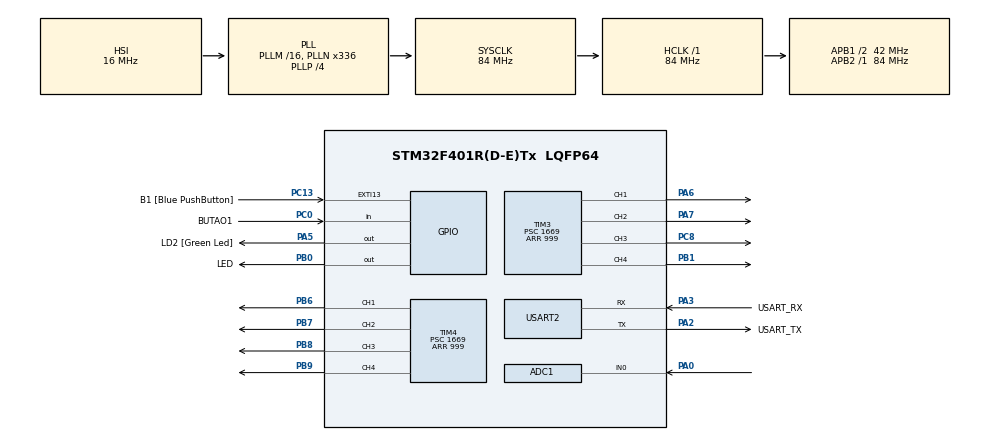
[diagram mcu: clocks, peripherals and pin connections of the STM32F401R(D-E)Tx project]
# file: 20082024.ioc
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ADC1.Channel-1\#ChannelRegularConversion=ADC_CHANNEL_0
ADC1.NbrOfConversionFlag=1
ADC1.Rank-1\#ChannelRegularConversion=1
ADC1.SamplingTime-1\#ChannelRegularConversion=ADC_SAMPLETIME_3CYCLES
ADC1.master=1
Dma.Request0=USART2_TX
Dma.USART2_TX.0.Direction=DMA_MEMORY_TO_PERIPH
Dma.USART2_TX.0.FIFOMode=DMA_FIFOMODE_DISABLE
Dma.USART2_TX.0.Instance=DMA1_Stream6
Dma.USART2_TX.0.MemDataAlignment=DMA_MDATAALIGN_BYTE
Dma.USART2_TX.0.MemInc=DMA_MINC_ENABLE
Dma.USART2_TX.0.Mode=DMA_NORMAL
Dma.USART2_TX.0.PeriphDataAlignment=DMA_PDATAALIGN_BYTE
Dma.USART2_TX.0.PeriphInc=DMA_PINC_DISABLE
Dma.USART2_TX.0.Priority=DMA_PRIORITY_LOW
Mcu.Family=STM32F4
Mcu.Name=STM32F401R(D-E)Tx
Mcu.Package=LQFP64
NVIC.ADC_IRQn=true\:0\:0\:false\:false\:true\:true\:true\:true
NVIC.DMA1_Stream6_IRQn=true\:0\:0\:false\:false\:true\:false\:true\:true
NVIC.PriorityGroup=NVIC_PRIORITYGROUP_0
NVIC.TIM1_TRG_COM_TIM11_IRQn=true\:0\:0\:false\:false\:true\:true\:true\:true
NVIC.TIM1_UP_TIM10_IRQn=true\:0\:0\:false\:false\:true\:true\:true\:true
NVIC.USART2_IRQn=true\:0\:0\:false\:false\:true\:true\:true\:true
PA0-WKUP.Signal=ADCx_IN0
PA13.GPIO_Label=TMS
PA13.Mode=Serial_Wire
PA13.Signal=SYS_JTMS-SWDIO
PA14.GPIO_Label=TCK
PA14.Mode=Serial_Wire
PA14.Signal=SYS_JTCK-SWCLK
PA2.GPIO_Label=USART_TX
PA2.GPIO_Mode=GPIO_MODE_AF_PP
PA2.GPIO_PuPd=GPIO_NOPULL
PA2.GPIO_Speed=GPIO_SPEED_FREQ_LOW
PA2.Mode=Asynchronous
PA2.Signal=USART2_TX
PA3.GPIO_Label=USART_RX
PA3.GPIO_Mode=GPIO_MODE_AF_PP
PA3.GPIO_PuPd=GPIO_NOPULL
PA3.GPIO_Speed=GPIO_SPEED_FREQ_LOW
PA3.Mode=Asynchronous
PA3.Signal=USART2_RX
PA5.GPIO_Label=LD2 [Green Led]
PA5.GPIO_Mode=GPIO_MODE_OUTPUT_PP
PA5.GPIO_PuPd=GPIO_NOPULL
PA5.GPIO_Speed=GPIO_SPEED_FREQ_LOW
PA5.Signal=GPIO_Output
PA6.Signal=S_TIM3_CH1
PA7.Signal=S_TIM3_CH2
PB0.GPIO_Label=LED
PB0.Signal=GPIO_Output
PB1.Signal=S_TIM3_CH4
PB3.GPIO_Label=SWO
PB3.Signal=SYS_JTDO-SWO
PB6.Signal=S_TIM4_CH1
PB7.Signal=S_TIM4_CH2
PB8.Signal=S_TIM4_CH3
PB9.Signal=S_TIM4_CH4
PC0.GPIO_Label=BUTAO1
PC0.Signal=GPIO_Input
PC13-ANTI_TAMP.GPIO_Label=B1 [Blue PushButton]
PC13-ANTI_TAMP.GPIO_ModeDefaultEXTI=GPIO_MODE_IT_FALLING
PC13-ANTI_TAMP.GPIO_PuPd=GPIO_NOPULL
PC13-ANTI_TAMP.Signal=GPXTI13
PC14-OSC32_IN.Mode=LSE-External-Oscillator
PC14-OSC32_IN.Signal=RCC_OSC32_IN
PC15-OSC32_OUT.Mode=LSE-External-Oscillator
PC15-OSC32_OUT.Signal=RCC_OSC32_OUT
PC8.Signal=S_TIM3_CH3
PH0\ -\ OSC_IN.Mode=HSE-External-Clock-Source
PH0\ -\ OSC_IN.Signal=RCC_OSC_IN
PH1\ -\ OSC_OUT.Mode=HSE-External-Clock-Source
PH1\ -\ OSC_OUT.Signal=RCC_OSC_OUT
ProjectManager.HeapSize=0x200
ProjectManager.StackSize=0x400
ProjectManager.TargetToolchain=STM32CubeIDE
RCC.48MHZClocksFreq_Value=48000000
RCC.AHBFreq_Value=84000000
RCC.APB1CLKDivider=RCC_HCLK_DIV2
RCC.APB1Freq_Value=42000000
RCC.APB1TimFreq_Value=84000000
RCC.APB2Freq_Value=84000000
RCC.APB2TimFreq_Value=84000000
RCC.CortexFreq_Value=84000000
RCC.HCLKFreq_Value=84000000
RCC.HSE_VALUE=8000000
RCC.HSI_VALUE=16000000
RCC.PLLN=336
RCC.PLLP=RCC_PLLP_DIV4
RCC.PLLQ=7
RCC.SYSCLKFreq_VALUE=84000000
RCC.SYSCLKSource=RCC_SYSCLKSOURCE_PLLCLK
RCC.VCOOutputFreq_Value=336000000
SH.ADCx_IN0.0=ADC1_IN0,IN0
SH.S_TIM3_CH1.0=TIM3_CH1,PWM Generation1 CH1
SH.S_TIM3_CH2.0=TIM3_CH2,PWM Generation2 CH2
SH.S_TIM3_CH3.0=TIM3_CH3,PWM Generation3 CH3
SH.S_TIM3_CH4.0=TIM3_CH4,PWM Generation4 CH4
SH.S_TIM4_CH1.0=TIM4_CH1,PWM Generation1 CH1
SH.S_TIM4_CH2.0=TIM4_CH2,PWM Generation2 CH2
SH.S_TIM4_CH3.0=TIM4_CH3,PWM Generation3 CH3
SH.S_TIM4_CH4.0=TIM4_CH4,PWM Generation4 CH4
TIM10.Period=8399
TIM10.Prescaler=5999
TIM11.Period=5
TIM11.Prescaler=16000-1
TIM3.Channel-PWM\ Generation1\ CH1=TIM_CHANNEL_1
TIM3.Channel-PWM\ Generation2\ CH2=TIM_CHANNEL_2
TIM3.Channel-PWM\ Generation3\ CH3=TIM_CHANNEL_3
TIM3.Channel-PWM\ Generation4\ CH4=TIM_CHANNEL_4
TIM3.Period=999
TIM3.Prescaler=1669
TIM4.Channel-PWM\ Generation1\ CH1=TIM_CHANNEL_1
TIM4.Channel-PWM\ Generation2\ CH2=TIM_CHANNEL_2
TIM4.Channel-PWM\ Generation3\ CH3=TIM_CHANNEL_3
TIM4.Channel-PWM\ Generation4\ CH4=TIM_CHANNEL_4
TIM4.Period=999
TIM4.Prescaler=1669
USART2.VirtualMode=VM_ASYNC
USART2.WordLength=WORDLENGTH_8B
VP_TIM10_VS_ClockSourceINT.Mode=Enable_Timer
VP_TIM11_VS_ClockSourceINT.Mode=Enable_Timer
board=NUCLEO-F401RE

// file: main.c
/* USER CODE BEGIN Header */
/**
  ******************************************************************************
  * @file           : main.c
  * @brief          : Main program body
  ******************************************************************************
  * @attention
  *
  * Copyright (c) 2024 STMicroelectronics.
  * All rights reserved.
  *
  * This software is licensed under terms that can be found in the LICENSE file
  * in the root directory of this software component.
  * If no LICENSE file comes with this software, it is provided AS-IS.
  *
  ******************************************************************************
  */
/* USER CODE END Header */
#include "main.h"

/* USER CODE BEGIN PD */
#define ESCALA (3.3/2750)
/* USER CODE END PD */

ADC_HandleTypeDef hadc1;

TIM_HandleTypeDef htim3;
TIM_HandleTypeDef htim4;
TIM_HandleTypeDef htim10;
TIM_HandleTypeDef htim11;

UART_HandleTypeDef huart2;
DMA_HandleTypeDef hdma_usart2_tx;

/* USER CODE BEGIN PV */
int pwm = 0;
uint16_t tesao = 0;
char msg[90];

uint16_t conta = 0;

uint16_t i = 0;

const uint16_t PWM_Canal[4] = {

		TIM_CHANNEL_1,
		TIM_CHANNEL_2,
		TIM_CHANNEL_3,
		TIM_CHANNEL_4

};

/* USER CODE END PV */

void SystemClock_Config(void);
static void MX_GPIO_Init(void);
static void MX_DMA_Init(void);
static void MX_USART2_UART_Init(void);
static void MX_ADC1_Init(void);
static void MX_TIM10_Init(void);
static void MX_TIM4_Init(void);
static void MX_TIM11_Init(void);
static void MX_TIM3_Init(void);

int main(void)
{

  /* MCU Configuration--------------------------------------------------------*/

  /* Reset of all peripherals, Initializes the Flash interface and the Systick. */
  HAL_Init();

  /* Configure the system clock */
  SystemClock_Config();

  /* Initialize all configured peripherals */
  MX_GPIO_Init();
  MX_DMA_Init();
  MX_USART2_UART_Init();
  MX_ADC1_Init();
  MX_TIM10_Init();
  MX_TIM4_Init();
  MX_TIM11_Init();
  MX_TIM3_Init();
  /* USER CODE BEGIN 2 */

  HAL_TIM_PWM_Start(&htim4, TIM_CHANNEL_1);
  HAL_TIM_PWM_Start(&htim3, TIM_CHANNEL_1);
  HAL_TIM_Base_Start_IT(&htim11);
  HAL_TIM_Base_Start_IT(&htim10);

  /* USER CODE END 2 */

  /* Infinite loop */
  while (1)
  {

    /* USER CODE BEGIN 3 */

	  HAL_ADC_PollForConversion(&hadc1, 1000);
	  tesao = HAL_ADC_GetValue(&hadc1);

	  HAL_UART_Transmit(&huart2, (uint8_t *)msg, strlen(msg), HAL_MAX_DELAY);
	  HAL_Delay(500);

	  sprintf(msg, "tesao: %i  --  PWM = %i -- Conta = %i -- I = %i \r\n", tesao, pwm, conta, i);

	  pwm = tesao*ESCALA*100;
	  if(pwm<=20)
	  {
	  	pwm=1;
	  }

	  __HAL_TIM_SET_COMPARE(&htim4, PWM_Canal[0], pwm-1);
	  __HAL_TIM_SET_COMPARE(&htim4, PWM_Canal[1], pwm-1);
	  __HAL_TIM_SET_COMPARE(&htim4, PWM_Canal[2], pwm-1);
	  __HAL_TIM_SET_COMPARE(&htim4, PWM_Canal[3], pwm-1);

	  __HAL_TIM_SET_COMPARE(&htim3, PWM_Canal[0], pwm-1);
	  __HAL_TIM_SET_COMPARE(&htim3, PWM_Canal[1], pwm-1);
	  __HAL_TIM_SET_COMPARE(&htim3, PWM_Canal[2], pwm-1);
	  __HAL_TIM_SET_COMPARE(&htim3, PWM_Canal[3], pwm-1);

  }
  /* USER CODE END 3 */
}

void SystemClock_Config(void)
{
  RCC_OscInitTypeDef RCC_OscInitStruct = {0};
  RCC_ClkInitTypeDef RCC_ClkInitStruct = {0};

  /** Configure the main internal regulator output voltage
  */
  __HAL_RCC_PWR_CLK_ENABLE();
  __HAL_PWR_VOLTAGESCALING_CONFIG(PWR_REGULATOR_VOLTAGE_SCALE2);

  /** Initializes the RCC Oscillators according to the specified parameters
  * in the RCC_OscInitTypeDef structure.
  */
  RCC_OscInitStruct.OscillatorType = RCC_OSCILLATORTYPE_HSI;
  RCC_OscInitStruct.HSIState = RCC_HSI_ON;
  RCC_OscInitStruct.HSICalibrationValue = RCC_HSICALIBRATION_DEFAULT;
  RCC_OscInitStruct.PLL.PLLState = RCC_PLL_ON;
  RCC_OscInitStruct.PLL.PLLSource = RCC_PLLSOURCE_HSI;
  RCC_OscInitStruct.PLL.PLLM = 16;
  RCC_OscInitStruct.PLL.PLLN = 336;
  RCC_OscInitStruct.PLL.PLLP = RCC_PLLP_DIV4;
  RCC_OscInitStruct.PLL.PLLQ = 7;
  if (HAL_RCC_OscConfig(&RCC_OscInitStruct) != HAL_OK)
  {
    Error_Handler();
  }

  /** Initializes the CPU, AHB and APB buses clocks
  */
  RCC_ClkInitStruct.ClockType = RCC_CLOCKTYPE_HCLK|RCC_CLOCKTYPE_SYSCLK
                              |RCC_CLOCKTYPE_PCLK1|RCC_CLOCKTYPE_PCLK2;
  RCC_ClkInitStruct.SYSCLKSource = RCC_SYSCLKSOURCE_PLLCLK;
  RCC_ClkInitStruct.AHBCLKDivider = RCC_SYSCLK_DIV1;
  RCC_ClkInitStruct.APB1CLKDivider = RCC_HCLK_DIV2;
  RCC_ClkInitStruct.APB2CLKDivider = RCC_HCLK_DIV1;

  if (HAL_RCC_ClockConfig(&RCC_ClkInitStruct, FLASH_LATENCY_2) != HAL_OK)
  {
    Error_Handler();
  }
}

static void MX_ADC1_Init(void)
{

  ADC_ChannelConfTypeDef sConfig = {0};

  /** Configure the global features of the ADC (Clock, Resolution, Data Alignment and number of conversion)
  */
  hadc1.Instance = ADC1;
  hadc1.Init.ClockPrescaler = ADC_CLOCK_SYNC_PCLK_DIV4;
  hadc1.Init.Resolution = ADC_RESOLUTION_12B;
  hadc1.Init.ScanConvMode = DISABLE;
  hadc1.Init.ContinuousConvMode = DISABLE;
  hadc1.Init.DiscontinuousConvMode = DISABLE;
  hadc1.Init.ExternalTrigConvEdge = ADC_EXTERNALTRIGCONVEDGE_NONE;
  hadc1.Init.ExternalTrigConv = ADC_SOFTWARE_START;
  hadc1.Init.DataAlign = ADC_DATAALIGN_RIGHT;
  hadc1.Init.NbrOfConversion = 1;
  hadc1.Init.DMAContinuousRequests = DISABLE;
  hadc1.Init.EOCSelection = ADC_EOC_SINGLE_CONV;
  if (HAL_ADC_Init(&hadc1) != HAL_OK)
  {
    Error_Handler();
  }

  /** Configure for the selected ADC regular channel its corresponding rank in the sequencer and its sample time.
  */
  sConfig.Channel = ADC_CHANNEL_0;
  sConfig.Rank = 1;
  sConfig.SamplingTime = ADC_SAMPLETIME_3CYCLES;
  if (HAL_ADC_ConfigChannel(&hadc1, &sConfig) != HAL_OK)
  {
    Error_Handler();
  }

}

static void MX_TIM3_Init(void)
{

  TIM_MasterConfigTypeDef sMasterConfig = {0};
  TIM_OC_InitTypeDef sConfigOC = {0};

  htim3.Instance = TIM3;
  htim3.Init.Prescaler = 1669;
  htim3.Init.CounterMode = TIM_COUNTERMODE_UP;
  htim3.Init.Period = 999;
  htim3.Init.ClockDivision = TIM_CLOCKDIVISION_DIV1;
  htim3.Init.AutoReloadPreload = TIM_AUTORELOAD_PRELOAD_DISABLE;
  if (HAL_TIM_PWM_Init(&htim3) != HAL_OK)
  {
    Error_Handler();
  }
  sMasterConfig.MasterOutputTrigger = TIM_TRGO_RESET;
  sMasterConfig.MasterSlaveMode = TIM_MASTERSLAVEMODE_DISABLE;
  if (HAL_TIMEx_MasterConfigSynchronization(&htim3, &sMasterConfig) != HAL_OK)
  {
    Error_Handler();
  }
  sConfigOC.OCMode = TIM_OCMODE_PWM1;
  sConfigOC.Pulse = 0;
  sConfigOC.OCPolarity = TIM_OCPOLARITY_HIGH;
  sConfigOC.OCFastMode = TIM_OCFAST_DISABLE;
  if (HAL_TIM_PWM_ConfigChannel(&htim3, &sConfigOC, TIM_CHANNEL_1) != HAL_OK)
  {
    Error_Handler();
  }
  if (HAL_TIM_PWM_ConfigChannel(&htim3, &sConfigOC, TIM_CHANNEL_2) != HAL_OK)
  {
    Error_Handler();
  }
  if (HAL_TIM_PWM_ConfigChannel(&htim3, &sConfigOC, TIM_CHANNEL_3) != HAL_OK)
  {
    Error_Handler();
  }
  if (HAL_TIM_PWM_ConfigChannel(&htim3, &sConfigOC, TIM_CHANNEL_4) != HAL_OK)
  {
    Error_Handler();
  }
  HAL_TIM_MspPostInit(&htim3);

}

static void MX_TIM4_Init(void)
{

  TIM_MasterConfigTypeDef sMasterConfig = {0};
  TIM_OC_InitTypeDef sConfigOC = {0};

  htim4.Instance = TIM4;
  htim4.Init.Prescaler = 1669;
  htim4.Init.CounterMode = TIM_COUNTERMODE_UP;
  htim4.Init.Period = 999;
  htim4.Init.ClockDivision = TIM_CLOCKDIVISION_DIV1;
  htim4.Init.AutoReloadPreload = TIM_AUTORELOAD_PRELOAD_DISABLE;
  if (HAL_TIM_PWM_Init(&htim4) != HAL_OK)
  {
    Error_Handler();
  }
  sMasterConfig.MasterOutputTrigger = TIM_TRGO_RESET;
  sMasterConfig.MasterSlaveMode = TIM_MASTERSLAVEMODE_DISABLE;
  if (HAL_TIMEx_MasterConfigSynchronization(&htim4, &sMasterConfig) != HAL_OK)
  {
    Error_Handler();
  }
  sConfigOC.OCMode = TIM_OCMODE_PWM1;
  sConfigOC.Pulse = 0;
  sConfigOC.OCPolarity = TIM_OCPOLARITY_HIGH;
  sConfigOC.OCFastMode = TIM_OCFAST_DISABLE;
  if (HAL_TIM_PWM_ConfigChannel(&htim4, &sConfigOC, TIM_CHANNEL_1) != HAL_OK)
  {
    Error_Handler();
  }
  if (HAL_TIM_PWM_ConfigChannel(&htim4, &sConfigOC, TIM_CHANNEL_2) != HAL_OK)
  {
    Error_Handler();
  }
  if (HAL_TIM_PWM_ConfigChannel(&htim4, &sConfigOC, TIM_CHANNEL_3) != HAL_OK)
  {
    Error_Handler();
  }
  if (HAL_TIM_PWM_ConfigChannel(&htim4, &sConfigOC, TIM_CHANNEL_4) != HAL_OK)
  {
    Error_Handler();
  }
  HAL_TIM_MspPostInit(&htim4);

}

static void MX_TIM10_Init(void)
{

  htim10.Instance = TIM10;
  htim10.Init.Prescaler = 5999;
  htim10.Init.CounterMode = TIM_COUNTERMODE_UP;
  htim10.Init.Period = 8399;
  htim10.Init.ClockDivision = TIM_CLOCKDIVISION_DIV1;
  htim10.Init.AutoReloadPreload = TIM_AUTORELOAD_PRELOAD_DISABLE;
  if (HAL_TIM_Base_Init(&htim10) != HAL_OK)
  {
    Error_Handler();
  }

}

static void MX_TIM11_Init(void)
{

  htim11.Instance = TIM11;
  htim11.Init.Prescaler = 16000-1;
  htim11.Init.CounterMode = TIM_COUNTERMODE_UP;
  htim11.Init.Period = 5;
  htim11.Init.ClockDivision = TIM_CLOCKDIVISION_DIV1;
  htim11.Init.AutoReloadPreload = TIM_AUTORELOAD_PRELOAD_DISABLE;
  if (HAL_TIM_Base_Init(&htim11) != HAL_OK)
  {
    Error_Handler();
  }

}

static void MX_USART2_UART_Init(void)
{

  huart2.Instance = USART2;
  huart2.Init.BaudRate = 115200;
  huart2.Init.WordLength = UART_WORDLENGTH_8B;
  huart2.Init.StopBits = UART_STOPBITS_1;
  huart2.Init.Parity = UART_PARITY_NONE;
  huart2.Init.Mode = UART_MODE_TX_RX;
  huart2.Init.HwFlowCtl = UART_HWCONTROL_NONE;
  huart2.Init.OverSampling = UART_OVERSAMPLING_16;
  if (HAL_UART_Init(&huart2) != HAL_OK)
  {
    Error_Handler();
  }

}

static void MX_DMA_Init(void)
{

  /* DMA controller clock enable */
  __HAL_RCC_DMA1_CLK_ENABLE();

  /* DMA interrupt init */
  /* DMA1_Stream6_IRQn interrupt configuration */
  HAL_NVIC_SetPriority(DMA1_Stream6_IRQn, 0, 0);
  HAL_NVIC_EnableIRQ(DMA1_Stream6_IRQn);

}

static void MX_GPIO_Init(void)
{
  GPIO_InitTypeDef GPIO_InitStruct = {0};

  /* GPIO Ports Clock Enable */
  __HAL_RCC_GPIOC_CLK_ENABLE();
  __HAL_RCC_GPIOH_CLK_ENABLE();
  __HAL_RCC_GPIOA_CLK_ENABLE();
  __HAL_RCC_GPIOB_CLK_ENABLE();

  /*Configure GPIO pin Output Level */
  HAL_GPIO_WritePin(LD2_GPIO_Port, LD2_Pin, GPIO_PIN_RESET);

  /*Configure GPIO pin Output Level */
  HAL_GPIO_WritePin(LED_GPIO_Port, LED_Pin, GPIO_PIN_RESET);

  /*Configure GPIO pin : B1_Pin */
  GPIO_InitStruct.Pin = B1_Pin;
  GPIO_InitStruct.Mode = GPIO_MODE_IT_FALLING;
  GPIO_InitStruct.Pull = GPIO_NOPULL;
  HAL_GPIO_Init(B1_GPIO_Port, &GPIO_InitStruct);

  /*Configure GPIO pin : BUTAO1_Pin */
  GPIO_InitStruct.Pin = BUTAO1_Pin;
  GPIO_InitStruct.Mode = GPIO_MODE_INPUT;
  GPIO_InitStruct.Pull = GPIO_NOPULL;
  HAL_GPIO_Init(BUTAO1_GPIO_Port, &GPIO_InitStruct);

  /*Configure GPIO pin : LD2_Pin */
  GPIO_InitStruct.Pin = LD2_Pin;
  GPIO_InitStruct.Mode = GPIO_MODE_OUTPUT_PP;
  GPIO_InitStruct.Pull = GPIO_NOPULL;
  GPIO_InitStruct.Speed = GPIO_SPEED_FREQ_LOW;
  HAL_GPIO_Init(LD2_GPIO_Port, &GPIO_InitStruct);

  /*Configure GPIO pin : LED_Pin */
  GPIO_InitStruct.Pin = LED_Pin;
  GPIO_InitStruct.Mode = GPIO_MODE_OUTPUT_PP;
  GPIO_InitStruct.Pull = GPIO_NOPULL;
  GPIO_InitStruct.Speed = GPIO_SPEED_FREQ_LOW;
  HAL_GPIO_Init(LED_GPIO_Port, &GPIO_InitStruct);

}

/* USER CODE BEGIN 4 */

enum {AGR=0,ANTES};
uint16_t sensor[2];

void HAL_TIM_PeriodElapsedCallback(TIM_HandleTypeDef *htim)//UTILIZA PARA PUXAR A INTERRUPÇÃO
{
	//CODIGO DO BOTÃO DE LLIGAR E DESLIGAR
	if(htim->Instance==TIM11)
	{
		sensor[AGR] = HAL_GPIO_ReadPin(BUTAO1_GPIO_Port, BUTAO1_Pin);

		if(sensor[AGR] == 0 && sensor[ANTES] != 0)
		{

			if(!HAL_GPIO_ReadPin(BUTAO1_GPIO_Port, BUTAO1_Pin))
			{
				conta ^= 1;
			}
		}
		sensor[ANTES] = sensor[AGR];
		if(conta==1)
		{
			HAL_GPIO_WritePin(LED_GPIO_Port, LED_Pin, 0);
			HAL_ADC_Start(&hadc1);
		}
		else if(conta==0)
		{
			HAL_GPIO_WritePin(LED_GPIO_Port, LED_Pin, 1);
			HAL_ADC_Stop(&hadc1);
			pwm=0;
			tesao=0;
		}
	}

	//CODIGO DE MUDAR O CANAL DO PWM E O MOTOR
	if(htim->Instance==TIM10){
		if(conta==1){
			HAL_TIM_PWM_Start(&htim4, PWM_Canal[i]);
			HAL_TIM_PWM_Stop(&htim4, PWM_Canal[i-1]);

			HAL_TIM_PWM_Start(&htim3, PWM_Canal[i]);
			HAL_TIM_PWM_Stop(&htim3, PWM_Canal[i-1]);

			if(i<4){i++;}else{i=1;}
		}
		else if(conta==0){
			HAL_TIM_PWM_Stop(&htim4, PWM_Canal[0]);
			HAL_TIM_PWM_Stop(&htim4, PWM_Canal[1]);
			HAL_TIM_PWM_Stop(&htim4, PWM_Canal[2]);
			HAL_TIM_PWM_Stop(&htim4, PWM_Canal[3]);

			HAL_TIM_PWM_Stop(&htim3, PWM_Canal[0]);
			HAL_TIM_PWM_Stop(&htim3, PWM_Canal[1]);
			HAL_TIM_PWM_Stop(&htim3, PWM_Canal[2]);
			HAL_TIM_PWM_Stop(&htim3, PWM_Canal[3]);
		}
	}

}

/* USER CODE END 4 */

void Error_Handler(void)
{
  __disable_irq();
  while (1)
  {
  }
}
